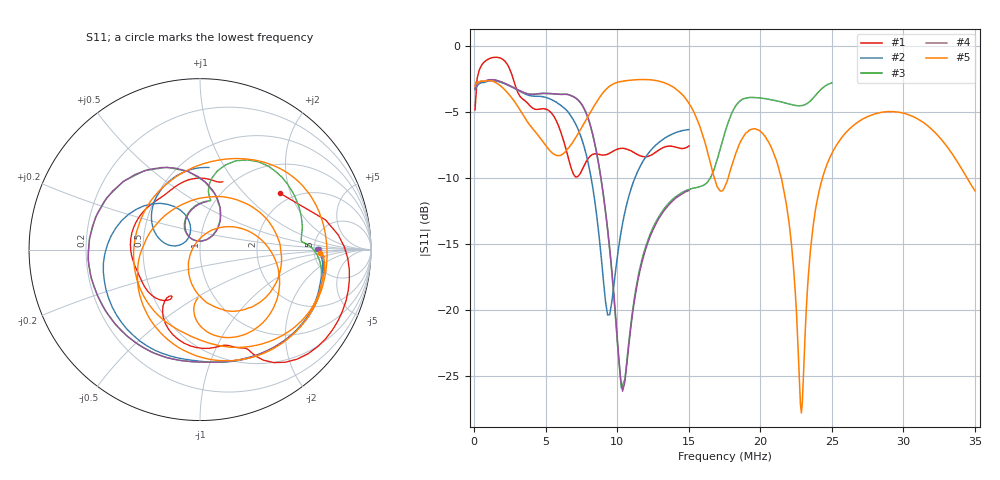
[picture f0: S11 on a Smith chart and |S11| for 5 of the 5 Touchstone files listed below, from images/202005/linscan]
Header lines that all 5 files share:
# Hz S RI R 50
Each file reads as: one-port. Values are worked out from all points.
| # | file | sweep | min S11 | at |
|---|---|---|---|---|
| 1 | linscan_1.s1p | 50 kHz to 15 MHz | -9.9 dB | 7.077 MHz |
| 2 | linscan_2_gnd.s1p | 50 kHz to 15 MHz | -20.4 dB | 9.319 MHz |
| 3 | linscan_3_gnd.s1p | 50 kHz to 25 MHz | -25.9 dB | 10.28 MHz |
| 4 | linscan_3_nd.s1p | 50 kHz to 15 MHz | -26.2 dB | 10.37 MHz |
| 5 | linscan_6_gnd.s1p | 50 kHz to 35 MHz | -27.8 dB | 22.86 MHz |
